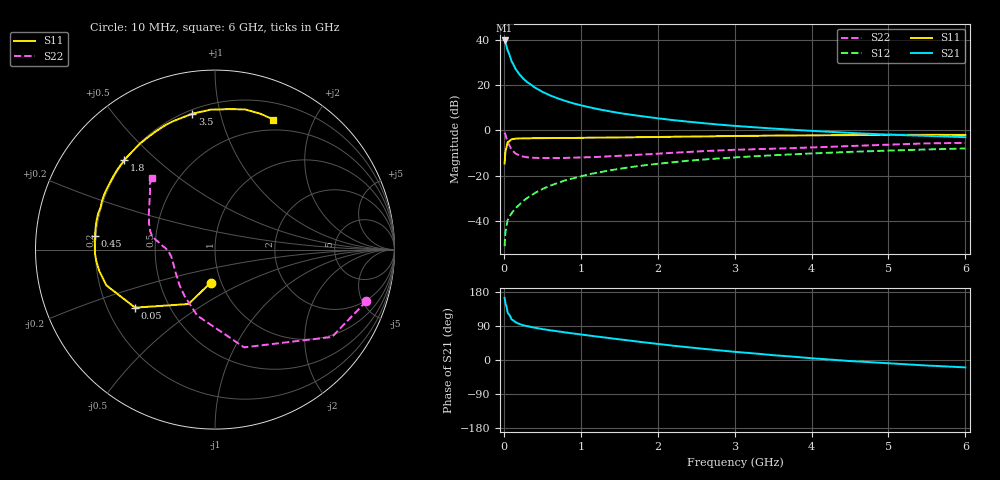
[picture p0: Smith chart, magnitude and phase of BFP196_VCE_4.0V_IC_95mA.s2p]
! Infineon Technologies  Discrete & RF Semiconductors
! BFP196
! VCE =  4.0 V,  IC =  95 mA
! Common Emitter S-Parameters:  Jan 2017
# GHz  S  MA  R  50
!  f  S11  S21  S12  S22
! GHz  MAG  ANG  MAG  ANG  MAG  ANG  MAG  ANG
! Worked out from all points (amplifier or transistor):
!   77 points, 10 MHz to 6 GHz, reference 50 ohm
!   highest |S21| = 39.6 dB at 10 MHz (marker M1)
!   |S21| within 3 dB of that: start of sweep to 37.99 MHz
!   unconditionally stable (mu >= 1): 377.1 MHz to 2.474 GHz
!   at 130 MHz: K = 0.77, MSG = 31.9 dB, |S12| = -35.2 dB
!   at 2.2 GHz: K = 1.01, MAG = 8.7 dB, |S12| = -14.0 dB
!   at 6 GHz: K = 0.96, MSG = 2.5 dB, |S12| = -8.0 dB
!   S11 on the Smith chart (normalised r, x): 10 MHz: 0.89, -0.34; 50 MHz: 0.32, -0.29; 450 MHz: 0.20, +0.06; 1.8 GHz: 0.20, +0.40; 3.5 GHz: 0.22, +0.82; 6 GHz: 0.38, +1.48
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0.01  0.1851 -97.3  96 164.1  0.0028 78.2  0.8912 -18.8
0.02  0.337 -115.9  87.74 150.4  0.0055 71.7  0.8131 -36.8
0.05  0.5501 -144.0  57.74 124.3  0.0106 55.5  0.5684 -73.4
0.1  0.6374 -161.8  33.42 107.3  0.0147 60.2  0.3808 -105.0
0.15  0.6564 -169.8  22.95 99.9  0.0191 61.9  0.3109 -122.7
0.2  0.6642 -174.3  17.4 95.3  0.0229 65.9  0.2813 -134.4
0.25  0.6689 -177.8  13.99 91.8  0.0278 66.5  0.2642 -142.0
0.3  0.6691 179.6  11.7 89.4  0.0319 69.5  0.2556 -148.4
0.4  0.6726 175.3  8.836 85.1  0.0411 70.1  0.248 -156.1
0.45  0.6731 173.4  7.951 83.5  0.0459 70.5  0.2463 -158.8
0.5  0.6743 171.5  7.074 81.6  0.0508 70.8  0.2451 -161.6
0.6  0.6775 168.4  5.922 78.5  0.0602 70.4  0.2459 -165.7
0.7  0.6796 165.5  5.078 75.7  0.0693 70.4  0.2451 -168.8
0.9  0.6797 159.6  3.956 70.0  0.0879 68.3  0.2501 -172.9
1.1  0.6888 154.1  3.262 64.8  0.107 66.1  0.2561 -176.4
1.8  0.71 135.4  2.047 47.1  0.1675 56.2  0.2938 175.8
2.1  0.7182 127.8  1.764 40.2  0.1907 51.7  0.3132 173.0
3.1  0.7537 106.7  1.223 20.0  0.2592 37.5  0.3772 163.4
3.5  0.7675 99.5  1.096 12.7  0.2827 32.7  0.3949 158.5
4.1  0.7802 90.3  0.956 3.2  0.3146 25.1  0.4256 149.8
5.1  0.7979 76.6  0.795 -9.8  0.3624 13.3  0.4906 137.5
6  0.7946 65.8  0.708 -19.5  0.3986 3.3  0.5307 131.1
